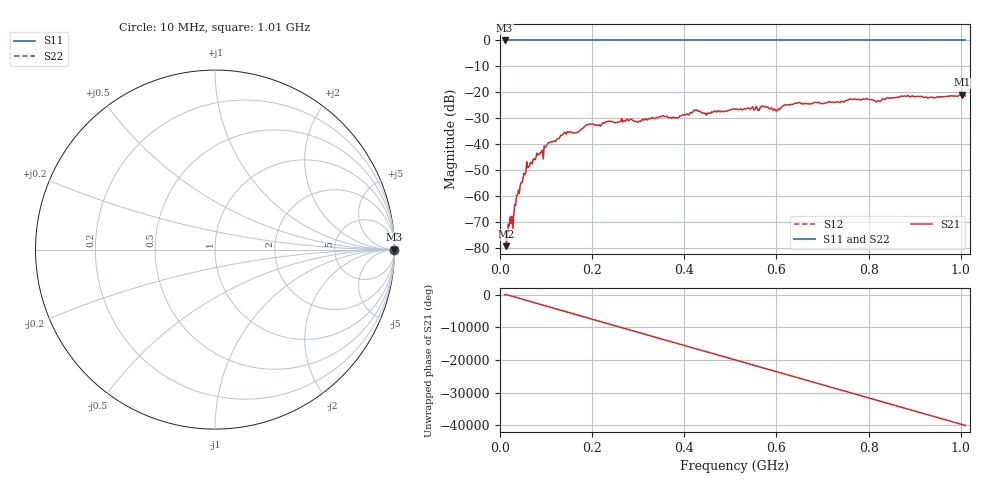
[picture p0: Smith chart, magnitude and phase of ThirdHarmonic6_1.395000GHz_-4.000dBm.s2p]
! 8/16/2025 3:54:56 PM
! C:\ANRITSUVNA\TEMP\TEMP.S2P
! CHANNEL.1
! TR.MEASUREMENT
! RAW.DATA
! RF.CORRECTION.OFF
! AVERAGING.OFF
! IF.BANDWIDTH: 5KHZ
! SWEEPTYPE:  FREQ.SWEEP(Linear)
! Reference Plane Port Info
! PORT:  PORT1  PORT2
! DISTANCE:  0  m  0  m
! TIME:  0  s  0  s
! PHASE.OFFSET:  0  deg.  0  deg.
! LOSS:  0  dB  0  dB
! REF.LOSS:  0  dB  0  dB
! REF.FREQ:  0  Hz  0  Hz
! Power Info
! POWER:  -20  dBm  -20  dBm
! EFF.POWER:  -20  dBm  -20  dBm
! SOURCE.ATTEN:  0  dB  0  dB
! TEST.ATTEN:  0  dB  0  dB
# GHZ S RI R 50.0
! FREQ.GHZ  S11RE  S11IM  S21RE  S21IM  S12RE  S12IM  S22RE  S22IM
!; PortSelection: Port_12
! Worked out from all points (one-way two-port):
!   501 points, 10 MHz to 1.01 GHz, reference 50 ohm
!   highest |S21| = -20.95 dB at 1.002 GHz (marker M1); lowest = -79.3 dB at 14 MHz (marker M2)
!   lowest |S11| = 0.0 dB at 10 MHz (marker M3)
!   |S11| at or under -10 dB: nowhere
!   |S22| runs from 0.0 to 0.0 dB; largest |S21 - S12| = 1.1
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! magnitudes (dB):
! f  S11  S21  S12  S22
! 10 MHz  0.0  -73.8  0.0  0.0
! 14 MHz  0.0  -79.3  0.0  0.0
! 22 MHz  0.0  -68.0  0.0  0.0
! 28 MHz  0.0  -72.5  0.0  0.0
! 36 MHz  0.0  -59.8  0.0  0.0
! 48 MHz  0.0  -54.8  0.0  0.0
! 62 MHz  0.0  -48.7  0.0  0.0
! 106 MHz  0.0  -39.3  0.0  0.0
! 142 MHz  0.0  -35.5  0.0  0.0
! 178 MHz  0.0  -34.0  0.0  0.0
! 196 MHz  0.0  -32.1  0.0  0.0
! 344 MHz  0.0  -29.7  0.0  0.0
! 384 MHz  0.0  -29.9  0.0  0.0
! 424 MHz  0.0  -26.9  0.0  0.0
! 510 MHz  0.0  -26.5  0.0  0.0
! 572 MHz  0.0  -25.5  0.0  0.0
! 602 MHz  0.0  -26.9  0.0  0.0
! 618 MHz  0.0  -25.0  0.0  0.0
! 678 MHz  0.0  -24.4  0.0  0.0
! 844 MHz  0.0  -22.3  0.0  0.0
! 1.002 GHz  0.0  -21.0  0.0  0.0
! 1.01 GHz  0.0  -21.4  0.0  0.0
